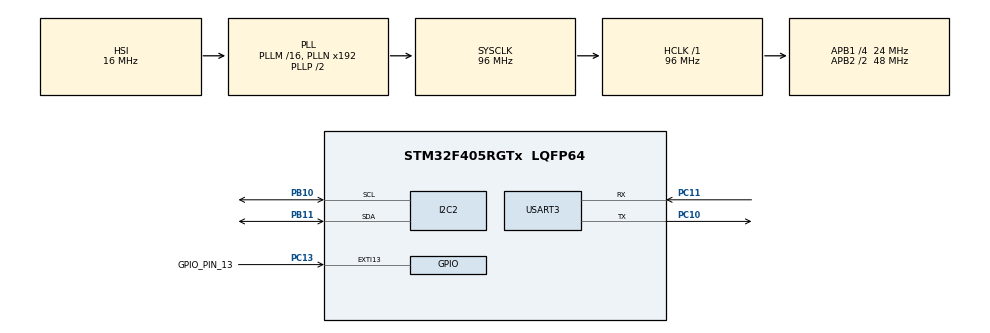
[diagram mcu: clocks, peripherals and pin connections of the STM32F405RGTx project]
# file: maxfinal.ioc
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Mcu.Family=STM32F4
Mcu.Name=STM32F405RGTx
Mcu.Package=LQFP64
NVIC.EXTI15_10_IRQn=true\:0\:0\:false\:false\:true\:true\:true\:true
NVIC.PriorityGroup=NVIC_PRIORITYGROUP_4
NVIC.TIM3_IRQn=true\:15\:0\:false\:false\:true\:false\:true\:true
NVIC.TimeBase=TIM3_IRQn
NVIC.TimeBaseIP=TIM3
PA13.Mode=Serial_Wire
PA13.Signal=SYS_JTMS-SWDIO
PA14.Mode=Serial_Wire
PA14.Signal=SYS_JTCK-SWCLK
PB10.Mode=I2C
PB10.Signal=I2C2_SCL
PB11.Mode=I2C
PB11.Signal=I2C2_SDA
PC10.Mode=Asynchronous
PC10.Signal=USART3_TX
PC11.Mode=Asynchronous
PC11.Signal=USART3_RX
PC13-ANTI_TAMP.GPIO_Label=GPIO_PIN_13
PC13-ANTI_TAMP.GPIO_ModeDefaultEXTI=GPIO_MODE_IT_FALLING
PC13-ANTI_TAMP.Signal=GPXTI13
ProjectManager.HeapSize=0x200
ProjectManager.StackSize=0x400
ProjectManager.TargetToolchain=STM32CubeIDE
RCC.AHBFreq_Value=96000000
RCC.APB1CLKDivider=RCC_HCLK_DIV4
RCC.APB1Freq_Value=24000000
RCC.APB1TimFreq_Value=48000000
RCC.APB2CLKDivider=RCC_HCLK_DIV2
RCC.APB2Freq_Value=48000000
RCC.APB2TimFreq_Value=96000000
RCC.CortexFreq_Value=96000000
RCC.HCLKFreq_Value=96000000
RCC.HSE_VALUE=25000000
RCC.HSI_VALUE=16000000
RCC.LSE_VALUE=32768
RCC.SYSCLKFreq_VALUE=96000000
RCC.SYSCLKSource=RCC_SYSCLKSOURCE_PLLCLK
RCC.VCOOutputFreq_Value=192000000
USART3.VirtualMode=VM_ASYNC
VP_SYS_VS_tim3.Mode=TIM3
board=custom

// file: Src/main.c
/* USER CODE BEGIN Header */
/**
  ******************************************************************************
  * @file           : main.c
  * @brief          : Main program body
  ******************************************************************************
  * @attention
  *
  * Copyright (c) 2025 STMicroelectronics.
  * All rights reserved.
  *
  * This software is licensed under terms that can be found in the LICENSE file
  * in the root directory of this software component.
  * If no LICENSE file comes with this software, it is provided AS-IS.
  *
  ******************************************************************************
  */
/* USER CODE END Header */
#include "main.h"
#include "i2c.h"
#include "usart.h"
#include "gpio.h"

/* USER CODE BEGIN Includes */
#include "max30102.h" // <-- Include the driver header
#include <stdio.h>
#include "string.h"
#include "lcd.h"
#include <stdbool.h>
#include "FreeRTOS.h"
#include "task.h"
#include <math.h>
extern I2C_HandleTypeDef hi2c2;  // Make sure this matches your project setup

#define READ_DELAY_MS 300
/* USER CODE END Includes */

/* USER CODE BEGIN PD */
#define SAMPLE_BUFFER_SIZE 100
uint32_t irBuffer[SAMPLE_BUFFER_SIZE];
uint32_t redBuffer[SAMPLE_BUFFER_SIZE];
uint8_t bufferIndex = 0;

float calculate_mean(uint32_t *data, uint8_t size) {
    uint64_t sum = 0;
    for (uint8_t i = 0; i < size; i++) sum += data[i];
    return (float)sum / size;
}

float calculate_rms(uint32_t *data, float mean, uint8_t size) {
    float rms = 0;
    for (uint8_t i = 0; i < size; i++) {
        float val = data[i] - mean;
        rms += val * val;
    }
    return sqrtf(rms / size);
}
/* USER CODE BEGIN 0 */

float normalize_hr(float hr) {

   if (hr <= 100) {
        // Map from 0–100 to 65–70
        return 65.0f + (hr / 100.0f) * 5.0f;
    } else if (hr > 100 && hr <= 400) {
        // Map from 100–180 to 70–100
        return 70.0f + ((hr - 100.0f) / 80.0f) * 30.0f;
    } else {
        return 0; // Out-of-range or noisy HR
    }
}

uint8_t buffer[4];

/* USER CODE END 0 */

/* USER CODE END PD */

void SystemClock_Config(void);
/* USER CODE BEGIN PFP */
void PulseOximeterTask(void *params);
/* USER CODE END PFP */

int main(void)
{

  /* MCU Configuration--------------------------------------------------------*/

  /* Reset of all peripherals, Initializes the Flash interface and the Systick. */
  HAL_Init();

  /* Configure the system clock */
  SystemClock_Config();

  /* Initialize all configured peripherals */
  MX_GPIO_Init();
  MX_I2C2_Init();
  MX_USART3_UART_Init();
  /* USER CODE BEGIN 2 */
  LcdInit();
  max30102_init(&hi2c2);

  lprint(0x80, "Initializing...");
      HAL_Delay(500);

      // Initialize MAX30102
      if (max30102_init(&hi2c2) == HAL_OK) {
          lprint(0x80, "MAX30102 INIT OK");
          lprint(0xC0, "Reading values...");
          HAL_Delay(1000);
      } else {
          lprint(0x80, "INIT FAILED");
          lprint(0xC0, "Check Wiring");
          while (1);  // Halt
      }
      xTaskCreate(PulseOximeterTask, "PulseOximeter", 256, NULL, 1, NULL);
      vTaskStartScheduler();

  /* USER CODE END 2 */

  /* Infinite loop */
  while (1)
  {

  }
}

void SystemClock_Config(void)
{
  RCC_OscInitTypeDef RCC_OscInitStruct = {0};
  RCC_ClkInitTypeDef RCC_ClkInitStruct = {0};

  /** Configure the main internal regulator output voltage
  */
  __HAL_RCC_PWR_CLK_ENABLE();
  __HAL_PWR_VOLTAGESCALING_CONFIG(PWR_REGULATOR_VOLTAGE_SCALE1);

  /** Initializes the RCC Oscillators according to the specified parameters
  * in the RCC_OscInitTypeDef structure.
  */
  RCC_OscInitStruct.OscillatorType = RCC_OSCILLATORTYPE_HSI;
  RCC_OscInitStruct.HSIState = RCC_HSI_ON;
  RCC_OscInitStruct.HSICalibrationValue = RCC_HSICALIBRATION_DEFAULT;
  RCC_OscInitStruct.PLL.PLLState = RCC_PLL_ON;
  RCC_OscInitStruct.PLL.PLLSource = RCC_PLLSOURCE_HSI;
  RCC_OscInitStruct.PLL.PLLM = 16;
  RCC_OscInitStruct.PLL.PLLN = 192;
  RCC_OscInitStruct.PLL.PLLP = RCC_PLLP_DIV2;
  RCC_OscInitStruct.PLL.PLLQ = 4;
  if (HAL_RCC_OscConfig(&RCC_OscInitStruct) != HAL_OK)
  {
    Error_Handler();
  }

  /** Initializes the CPU, AHB and APB buses clocks
  */
  RCC_ClkInitStruct.ClockType = RCC_CLOCKTYPE_HCLK|RCC_CLOCKTYPE_SYSCLK
                              |RCC_CLOCKTYPE_PCLK1|RCC_CLOCKTYPE_PCLK2;
  RCC_ClkInitStruct.SYSCLKSource = RCC_SYSCLKSOURCE_PLLCLK;
  RCC_ClkInitStruct.AHBCLKDivider = RCC_SYSCLK_DIV1;
  RCC_ClkInitStruct.APB1CLKDivider = RCC_HCLK_DIV4;
  RCC_ClkInitStruct.APB2CLKDivider = RCC_HCLK_DIV2;

  if (HAL_RCC_ClockConfig(&RCC_ClkInitStruct, FLASH_LATENCY_3) != HAL_OK)
  {
    Error_Handler();
  }
}

/* USER CODE BEGIN 4 */
void PulseOximeterTask(void *params) {
    uint32_t ir = 0, red = 0;
    char line1[17], line2[17];
    float hr,spo2;
    while (1) {
        if (max30102_read_fifo(&hi2c2, &red, &ir) == HAL_OK) {
            irBuffer[bufferIndex] = ir;
            redBuffer[bufferIndex] = red;
            bufferIndex = (bufferIndex + 1) % SAMPLE_BUFFER_SIZE;

            // After buffer is full, calculate
            if (bufferIndex == 0) {
                float ir_mean = calculate_mean(irBuffer, SAMPLE_BUFFER_SIZE);
                float red_mean = calculate_mean(redBuffer, SAMPLE_BUFFER_SIZE);

                // Step 1: Detect finger presence
                if (ir_mean < 10000 || ir_mean > 1000000)
                {
                    lprint(0x80, "Place Finger    ");
                    lprint(0xc0, "                ");

                    hr=0;
                    spo2=0;
                }

                else
                {
                float ir_ac = calculate_rms(irBuffer, ir_mean, SAMPLE_BUFFER_SIZE);
                float red_ac = calculate_rms(redBuffer, red_mean, SAMPLE_BUFFER_SIZE);

                float ratio = (red_ac / red_mean) / (ir_ac / ir_mean);
                 spo2 = 110.0f - 25.0f * ratio;

                // Clamp
                if (spo2 > 100) spo2 = 100;
                if (spo2 < 70 || isnan(spo2)) spo2 = 0;

                // HR: Improved peak detection
                int peak_count = 0;
                int last_peak_index = -10;

                for (int i = 1; i < SAMPLE_BUFFER_SIZE - 1; i++)
                {
                    if (irBuffer[i] > irBuffer[i - 1] &&
                        irBuffer[i] > irBuffer[i + 1] &&
                        irBuffer[i] > (ir_mean + 1000) &&
                        (i - last_peak_index) > 10)
                    {
                        peak_count++;
                        last_peak_index = i;
                    }
                }

                float duration_sec = (SAMPLE_BUFFER_SIZE * 20.0f) / 1000.0f;
                 hr = (peak_count * 60.0f) / duration_sec;

                hr = normalize_hr(hr);

                if (hr > 100) {
					hr = 80;
				}

                snprintf(line1, sizeof(line1), "SPO2: %d%%      ", (int)spo2);
                snprintf(line2, sizeof(line2), "HR: %d bpm      ", (int)hr);
                lprint(0x80, line1);
                lprint(0xC0, line2);
                }

                dbuffer[0] = (uint8_t)(spo2 & 0xFF);         // LSB
                buffer[1] = (uint8_t)((spo2 >> 8) & 0xFF);  // MSB
                buffer[2] = (uint8_t)(hr & 0xFF);           // LSB
                buffer[3] = (uint8_t)((hr >> 8) & 0xFF);    // MSB

                HAL_UART_Transmit(&huart3, buffer, 4, HAL_MAX_DELAY);

            }
        }
        else
        {
            lprint(0x80, "Read Error");
            lprint(0xC0, "Try reset");
        }

        vTaskDelay(pdMS_TO_TICKS(20)); // 50 Hz sampling
    }
}

/* USER CODE END 4 */

void HAL_TIM_PeriodElapsedCallback(TIM_HandleTypeDef *htim)
{
  if (htim->Instance == TIM3) {
    HAL_IncTick();
  }
}

void Error_Handler(void)
{
  __disable_irq();
  while (1)
  {
  }
}
